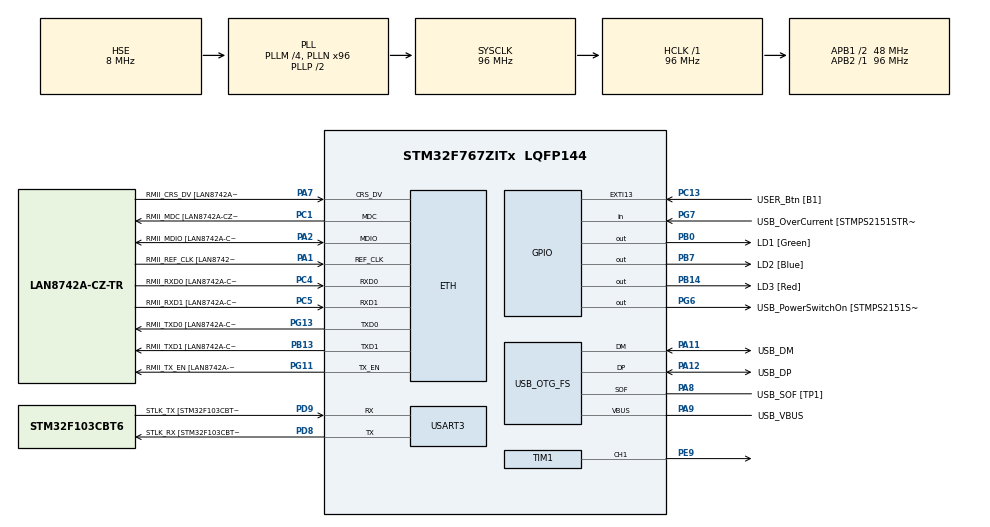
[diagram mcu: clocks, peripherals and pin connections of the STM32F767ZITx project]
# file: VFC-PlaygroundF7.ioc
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ETH.MediaInterface=ETH_MEDIA_INTERFACE_RMII
ETH.PHY_Name=LAN8742A_PHY_ADDRESS
ETH.PHY_Value=0
ETH.PhyAddress=0
Mcu.Family=STM32F7
Mcu.Name=STM32F767ZITx
Mcu.Package=LQFP144
NVIC.PriorityGroup=NVIC_PRIORITYGROUP_4
PA1.GPIO_Label=RMII_REF_CLK [LAN8742A-CZ-TR_REFCLK0]
PA1.Mode=RMII
PA1.Signal=ETH_REF_CLK
PA10.GPIO_Label=USB_ID
PA10.Signal=USB_OTG_FS_ID
PA11.GPIO_Label=USB_DM
PA11.Mode=Device_Only
PA11.Signal=USB_OTG_FS_DM
PA12.GPIO_Label=USB_DP
PA12.Mode=Device_Only
PA12.Signal=USB_OTG_FS_DP
PA13.GPIO_Label=TMS
PA13.Mode=Serial_Wire
PA13.Signal=SYS_JTMS-SWDIO
PA14.GPIO_Label=TCK
PA14.Mode=Serial_Wire
PA14.Signal=SYS_JTCK-SWCLK
PA2.GPIO_Label=RMII_MDIO [LAN8742A-CZ-TR_MDIO]
PA2.Mode=RMII
PA2.Signal=ETH_MDIO
PA7.GPIO_Label=RMII_CRS_DV [LAN8742A-CZ-TR_CRS_DV]
PA7.Mode=RMII
PA7.Signal=ETH_CRS_DV
PA8.GPIO_Label=USB_SOF [TP1]
PA8.Mode=Activate_SOF_FS
PA8.Signal=USB_OTG_FS_SOF
PA9.GPIO_Label=USB_VBUS
PA9.Mode=Activate_VBUS
PA9.Signal=USB_OTG_FS_VBUS
PB0.GPIO_Label=LD1 [Green]
PB0.Signal=GPIO_Output
PB13.GPIO_Label=RMII_TXD1 [LAN8742A-CZ-TR_TXD1]
PB13.Mode=RMII
PB13.Signal=ETH_TXD1
PB14.GPIO_Label=LD3 [Red]
PB14.Signal=GPIO_Output
PB3.GPIO_Label=SWO
PB3.Signal=SYS_JTDO-SWO
PB7.GPIO_Label=LD2 [Blue]
PB7.Signal=GPIO_Output
PC1.GPIO_Label=RMII_MDC [LAN8742A-CZ-TR_MDC]
PC1.Mode=RMII
PC1.Signal=ETH_MDC
PC13.GPIO_Label=USER_Btn [B1]
PC13.Signal=GPXTI13
PC14/OSC32_IN.Mode=LSE-External-Oscillator
PC14/OSC32_IN.Signal=RCC_OSC32_IN
PC15/OSC32_OUT.Mode=LSE-External-Oscillator
PC15/OSC32_OUT.Signal=RCC_OSC32_OUT
PC4.GPIO_Label=RMII_RXD0 [LAN8742A-CZ-TR_RXD0]
PC4.Mode=RMII
PC4.Signal=ETH_RXD0
PC5.GPIO_Label=RMII_RXD1 [LAN8742A-CZ-TR_RXD1]
PC5.Mode=RMII
PC5.Signal=ETH_RXD1
PD8.GPIO_Label=STLK_RX [STM32F103CBT6_PA3]
PD8.Mode=Asynchronous
PD8.Signal=USART3_TX
PD9.GPIO_Label=STLK_TX [STM32F103CBT6_PA2]
PD9.Mode=Asynchronous
PD9.Signal=USART3_RX
PE9.Signal=S_TIM1_CH1
PG11.GPIO_Label=RMII_TX_EN [LAN8742A-CZ-TR_TXEN]
PG11.Mode=RMII
PG11.Signal=ETH_TX_EN
PG13.GPIO_Label=RMII_TXD0 [LAN8742A-CZ-TR_TXD0]
PG13.Mode=RMII
PG13.Signal=ETH_TXD0
PG6.GPIO_Label=USB_PowerSwitchOn [STMPS2151STR_EN]
PG6.Signal=GPIO_Output
PG7.GPIO_Label=USB_OverCurrent [STMPS2151STR_FAULT]
PG7.Signal=GPIO_Input
PH0/OSC_IN.GPIO_Label=MCO [STM32F103CBT6_PA8]
PH0/OSC_IN.Mode=HSE-External-Clock-Source
PH0/OSC_IN.Signal=RCC_OSC_IN
PH1/OSC_OUT.Mode=HSE-External-Clock-Source
PH1/OSC_OUT.Signal=RCC_OSC_OUT
ProjectManager.HeapSize=0x200
ProjectManager.StackSize=0x400
ProjectManager.TargetToolchain=STM32CubeIDE
RCC.48MHZClocksFreq_Value=24000000
RCC.AHBFreq_Value=96000000
RCC.APB1CLKDivider=RCC_HCLK_DIV2
RCC.APB1Freq_Value=48000000
RCC.APB1TimFreq_Value=96000000
RCC.APB2Freq_Value=96000000
RCC.APB2TimFreq_Value=96000000
RCC.CortexFreq_Value=96000000
RCC.HCLKFreq_Value=96000000
RCC.HSE_VALUE=8000000
RCC.HSI_VALUE=16000000
RCC.PLLM=4
RCC.PLLMUL=RCC_PLL_MUL9
RCC.PLLN=96
RCC.PLLQ=4
RCC.PRESCALERUSB=RCC_USBCLKSOURCE_PLL_DIV1_5
RCC.SYSCLKFreq_VALUE=96000000
RCC.SYSCLKSource=RCC_SYSCLKSOURCE_PLLCLK
RCC.SYSCLKSourceVirtual=RCC_SYSCLKSOURCE_PLLCLK
RCC.USBFreq_Value=48000000
RCC.VCOOutputFreq_Value=192000000
SH.S_TIM1_CH1.0=TIM1_CH1,PWM Generation1 CH1
TIM1.Channel-PWM\ Generation1\ CH1=TIM_CHANNEL_1
TIM1.Period=65535
TIM1.Prescaler=10
TIM1.Pulse-PWM\ Generation1\ CH1=0
USART3.VirtualMode-Asynchronous=VM_ASYNC
USB_OTG_FS.VirtualMode=Device_Only
board=NUCLEO-F767ZI

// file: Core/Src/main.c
/* USER CODE BEGIN Header */
/**
  ******************************************************************************
  * @file           : main.c
  * @brief          : Main program body
  ******************************************************************************
  * @attention
  *
  * <h2><center>&copy; Copyright (c) 2021 STMicroelectronics.
  * All rights reserved.</center></h2>
  *
  * This software component is licensed by ST under BSD 3-Clause license,
  * the "License"; You may not use this file except in compliance with the
  * License. You may obtain a copy of the License at:
  *                        opensource.org/licenses/BSD-3-Clause
  *
  ******************************************************************************
  */
/* USER CODE END Header */
#include "main.h"

ETH_HandleTypeDef heth;

TIM_HandleTypeDef htim1;

UART_HandleTypeDef huart3;

PCD_HandleTypeDef hpcd_USB_OTG_FS;

void SystemClock_Config(void);
static void MX_GPIO_Init(void);
static void MX_ETH_Init(void);
static void MX_USART3_UART_Init(void);
static void MX_USB_OTG_FS_PCD_Init(void);
static void MX_TIM1_Init(void);
/* USER CODE BEGIN PFP */
static void setPWM(TIM_HandleTypeDef, uint32_t, uint16_t, uint16_t);
/* USER CODE END PFP */

/* USER CODE BEGIN 0 */
void setPWM(TIM_HandleTypeDef timer, uint32_t channel, uint16_t period, uint16_t pulse)
{
 HAL_TIM_PWM_Stop(&timer, channel); // stop generation of pwm
 TIM_OC_InitTypeDef sConfigOC;
 timer.Init.Period = period; // set the period duration
 HAL_TIM_PWM_Init(&timer); // reinititialise with new period value
 sConfigOC.OCMode = TIM_OCMODE_PWM1;
 sConfigOC.Pulse = pulse; // set the pulse duration
 sConfigOC.OCPolarity = TIM_OCPOLARITY_HIGH;
 sConfigOC.OCFastMode = TIM_OCFAST_DISABLE;
 HAL_TIM_PWM_ConfigChannel(&timer, &sConfigOC, channel);
 HAL_TIM_PWM_Start(&timer, channel);
}
/* USER CODE END 0 */

int main(void)
{

  /* MCU Configuration--------------------------------------------------------*/

  /* Reset of all peripherals, Initializes the Flash interface and the Systick. */
  HAL_Init();

  /* Configure the system clock */
  SystemClock_Config();

  /* Initialize all configured peripherals */
  MX_GPIO_Init();
  MX_ETH_Init();
  MX_USART3_UART_Init();
  MX_USB_OTG_FS_PCD_Init();
  MX_TIM1_Init();
  /* USER CODE BEGIN 2 */
  setPWM(htim1, TIM_CHANNEL_1, 2000, 1000);
 HAL_Delay(3000);
  /* USER CODE END 2 */

  /* Infinite loop */
  while (1)
  {

    /* USER CODE BEGIN 3 */

	  for(int i=0;i<1000;i++){
		  setPWM(htim1, TIM_CHANNEL_1, 2000, 1000 + i );
		  HAL_Delay(20);
	  }
	  for(int i=1000;i>0;i--){
	 		  setPWM(htim1, TIM_CHANNEL_1, 2000, 1000 + i );
	 		  HAL_Delay(20);
	 	  }
  }
  /* USER CODE END 3 */
}

void SystemClock_Config(void)
{
  RCC_OscInitTypeDef RCC_OscInitStruct = {0};
  RCC_ClkInitTypeDef RCC_ClkInitStruct = {0};
  RCC_PeriphCLKInitTypeDef PeriphClkInitStruct = {0};

  /** Configure LSE Drive Capability
  */
  HAL_PWR_EnableBkUpAccess();
  /** Configure the main internal regulator output voltage
  */
  __HAL_RCC_PWR_CLK_ENABLE();
  __HAL_PWR_VOLTAGESCALING_CONFIG(PWR_REGULATOR_VOLTAGE_SCALE3);
  /** Initializes the RCC Oscillators according to the specified parameters
  * in the RCC_OscInitTypeDef structure.
  */
  RCC_OscInitStruct.OscillatorType = RCC_OSCILLATORTYPE_HSE;
  RCC_OscInitStruct.HSEState = RCC_HSE_BYPASS;
  RCC_OscInitStruct.PLL.PLLState = RCC_PLL_ON;
  RCC_OscInitStruct.PLL.PLLSource = RCC_PLLSOURCE_HSE;
  RCC_OscInitStruct.PLL.PLLM = 4;
  RCC_OscInitStruct.PLL.PLLN = 96;
  RCC_OscInitStruct.PLL.PLLP = RCC_PLLP_DIV2;
  RCC_OscInitStruct.PLL.PLLQ = 4;
  if (HAL_RCC_OscConfig(&RCC_OscInitStruct) != HAL_OK)
  {
    Error_Handler();
  }
  /** Activate the Over-Drive mode
  */
  if (HAL_PWREx_EnableOverDrive() != HAL_OK)
  {
    Error_Handler();
  }
  /** Initializes the CPU, AHB and APB buses clocks
  */
  RCC_ClkInitStruct.ClockType = RCC_CLOCKTYPE_HCLK|RCC_CLOCKTYPE_SYSCLK
                              |RCC_CLOCKTYPE_PCLK1|RCC_CLOCKTYPE_PCLK2;
  RCC_ClkInitStruct.SYSCLKSource = RCC_SYSCLKSOURCE_PLLCLK;
  RCC_ClkInitStruct.AHBCLKDivider = RCC_SYSCLK_DIV1;
  RCC_ClkInitStruct.APB1CLKDivider = RCC_HCLK_DIV2;
  RCC_ClkInitStruct.APB2CLKDivider = RCC_HCLK_DIV1;

  if (HAL_RCC_ClockConfig(&RCC_ClkInitStruct, FLASH_LATENCY_3) != HAL_OK)
  {
    Error_Handler();
  }
  PeriphClkInitStruct.PeriphClockSelection = RCC_PERIPHCLK_USART3|RCC_PERIPHCLK_CLK48;
  PeriphClkInitStruct.Usart3ClockSelection = RCC_USART3CLKSOURCE_PCLK1;
  PeriphClkInitStruct.Clk48ClockSelection = RCC_CLK48SOURCE_PLL;
  if (HAL_RCCEx_PeriphCLKConfig(&PeriphClkInitStruct) != HAL_OK)
  {
    Error_Handler();
  }
}

static void MX_ETH_Init(void)
{

  heth.Instance = ETH;
  heth.Init.AutoNegotiation = ETH_AUTONEGOTIATION_ENABLE;
  heth.Init.PhyAddress = LAN8742A_PHY_ADDRESS;
  heth.Init.MACAddr[0] =   0x00;
  heth.Init.MACAddr[1] =   0x80;
  heth.Init.MACAddr[2] =   0xE1;
  heth.Init.MACAddr[3] =   0x00;
  heth.Init.MACAddr[4] =   0x00;
  heth.Init.MACAddr[5] =   0x00;
  heth.Init.RxMode = ETH_RXPOLLING_MODE;
  heth.Init.ChecksumMode = ETH_CHECKSUM_BY_HARDWARE;
  heth.Init.MediaInterface = ETH_MEDIA_INTERFACE_RMII;

  if (HAL_ETH_Init(&heth) != HAL_OK)
  {
    Error_Handler();
  }

}

static void MX_TIM1_Init(void)
{

  TIM_MasterConfigTypeDef sMasterConfig = {0};
  TIM_OC_InitTypeDef sConfigOC = {0};
  TIM_BreakDeadTimeConfigTypeDef sBreakDeadTimeConfig = {0};

  htim1.Instance = TIM1;
  htim1.Init.Prescaler = 10;
  htim1.Init.CounterMode = TIM_COUNTERMODE_UP;
  htim1.Init.Period = 9700;
  htim1.Init.ClockDivision = TIM_CLOCKDIVISION_DIV1;
  htim1.Init.RepetitionCounter = 0;
  htim1.Init.AutoReloadPreload = TIM_AUTORELOAD_PRELOAD_DISABLE;
  if (HAL_TIM_PWM_Init(&htim1) != HAL_OK)
  {
    Error_Handler();
  }
  sMasterConfig.MasterOutputTrigger = TIM_TRGO_RESET;
  sMasterConfig.MasterOutputTrigger2 = TIM_TRGO2_RESET;
  sMasterConfig.MasterSlaveMode = TIM_MASTERSLAVEMODE_DISABLE;
  if (HAL_TIMEx_MasterConfigSynchronization(&htim1, &sMasterConfig) != HAL_OK)
  {
    Error_Handler();
  }
  sConfigOC.OCMode = TIM_OCMODE_PWM1;
  sConfigOC.Pulse = 0;
  sConfigOC.OCPolarity = TIM_OCPOLARITY_HIGH;
  sConfigOC.OCNPolarity = TIM_OCNPOLARITY_HIGH;
  sConfigOC.OCFastMode = TIM_OCFAST_DISABLE;
  sConfigOC.OCIdleState = TIM_OCIDLESTATE_RESET;
  sConfigOC.OCNIdleState = TIM_OCNIDLESTATE_RESET;
  if (HAL_TIM_PWM_ConfigChannel(&htim1, &sConfigOC, TIM_CHANNEL_1) != HAL_OK)
  {
    Error_Handler();
  }
  sBreakDeadTimeConfig.OffStateRunMode = TIM_OSSR_DISABLE;
  sBreakDeadTimeConfig.OffStateIDLEMode = TIM_OSSI_DISABLE;
  sBreakDeadTimeConfig.LockLevel = TIM_LOCKLEVEL_OFF;
  sBreakDeadTimeConfig.DeadTime = 0;
  sBreakDeadTimeConfig.BreakState = TIM_BREAK_DISABLE;
  sBreakDeadTimeConfig.BreakPolarity = TIM_BREAKPOLARITY_HIGH;
  sBreakDeadTimeConfig.BreakFilter = 0;
  sBreakDeadTimeConfig.Break2State = TIM_BREAK2_DISABLE;
  sBreakDeadTimeConfig.Break2Polarity = TIM_BREAK2POLARITY_HIGH;
  sBreakDeadTimeConfig.Break2Filter = 0;
  sBreakDeadTimeConfig.AutomaticOutput = TIM_AUTOMATICOUTPUT_DISABLE;
  if (HAL_TIMEx_ConfigBreakDeadTime(&htim1, &sBreakDeadTimeConfig) != HAL_OK)
  {
    Error_Handler();
  }
  HAL_TIM_MspPostInit(&htim1);

}

static void MX_USART3_UART_Init(void)
{

  huart3.Instance = USART3;
  huart3.Init.BaudRate = 115200;
  huart3.Init.WordLength = UART_WORDLENGTH_8B;
  huart3.Init.StopBits = UART_STOPBITS_1;
  huart3.Init.Parity = UART_PARITY_NONE;
  huart3.Init.Mode = UART_MODE_TX_RX;
  huart3.Init.HwFlowCtl = UART_HWCONTROL_NONE;
  huart3.Init.OverSampling = UART_OVERSAMPLING_16;
  huart3.Init.OneBitSampling = UART_ONE_BIT_SAMPLE_DISABLE;
  huart3.AdvancedInit.AdvFeatureInit = UART_ADVFEATURE_NO_INIT;
  if (HAL_UART_Init(&huart3) != HAL_OK)
  {
    Error_Handler();
  }

}

static void MX_USB_OTG_FS_PCD_Init(void)
{

  hpcd_USB_OTG_FS.Instance = USB_OTG_FS;
  hpcd_USB_OTG_FS.Init.dev_endpoints = 6;
  hpcd_USB_OTG_FS.Init.speed = PCD_SPEED_FULL;
  hpcd_USB_OTG_FS.Init.dma_enable = DISABLE;
  hpcd_USB_OTG_FS.Init.phy_itface = PCD_PHY_EMBEDDED;
  hpcd_USB_OTG_FS.Init.Sof_enable = ENABLE;
  hpcd_USB_OTG_FS.Init.low_power_enable = DISABLE;
  hpcd_USB_OTG_FS.Init.lpm_enable = DISABLE;
  hpcd_USB_OTG_FS.Init.vbus_sensing_enable = ENABLE;
  hpcd_USB_OTG_FS.Init.use_dedicated_ep1 = DISABLE;
  if (HAL_PCD_Init(&hpcd_USB_OTG_FS) != HAL_OK)
  {
    Error_Handler();
  }

}

static void MX_GPIO_Init(void)
{
  GPIO_InitTypeDef GPIO_InitStruct = {0};

  /* GPIO Ports Clock Enable */
  __HAL_RCC_GPIOC_CLK_ENABLE();
  __HAL_RCC_GPIOH_CLK_ENABLE();
  __HAL_RCC_GPIOA_CLK_ENABLE();
  __HAL_RCC_GPIOB_CLK_ENABLE();
  __HAL_RCC_GPIOE_CLK_ENABLE();
  __HAL_RCC_GPIOD_CLK_ENABLE();
  __HAL_RCC_GPIOG_CLK_ENABLE();

  /*Configure GPIO pin Output Level */
  HAL_GPIO_WritePin(GPIOB, LD1_Pin|LD3_Pin|LD2_Pin, GPIO_PIN_RESET);

  /*Configure GPIO pin Output Level */
  HAL_GPIO_WritePin(USB_PowerSwitchOn_GPIO_Port, USB_PowerSwitchOn_Pin, GPIO_PIN_RESET);

  /*Configure GPIO pin : USER_Btn_Pin */
  GPIO_InitStruct.Pin = USER_Btn_Pin;
  GPIO_InitStruct.Mode = GPIO_MODE_IT_RISING;
  GPIO_InitStruct.Pull = GPIO_NOPULL;
  HAL_GPIO_Init(USER_Btn_GPIO_Port, &GPIO_InitStruct);

  /*Configure GPIO pins : LD1_Pin LD3_Pin LD2_Pin */
  GPIO_InitStruct.Pin = LD1_Pin|LD3_Pin|LD2_Pin;
  GPIO_InitStruct.Mode = GPIO_MODE_OUTPUT_PP;
  GPIO_InitStruct.Pull = GPIO_NOPULL;
  GPIO_InitStruct.Speed = GPIO_SPEED_FREQ_LOW;
  HAL_GPIO_Init(GPIOB, &GPIO_InitStruct);

  /*Configure GPIO pin : USB_PowerSwitchOn_Pin */
  GPIO_InitStruct.Pin = USB_PowerSwitchOn_Pin;
  GPIO_InitStruct.Mode = GPIO_MODE_OUTPUT_PP;
  GPIO_InitStruct.Pull = GPIO_NOPULL;
  GPIO_InitStruct.Speed = GPIO_SPEED_FREQ_LOW;
  HAL_GPIO_Init(USB_PowerSwitchOn_GPIO_Port, &GPIO_InitStruct);

  /*Configure GPIO pin : USB_OverCurrent_Pin */
  GPIO_InitStruct.Pin = USB_OverCurrent_Pin;
  GPIO_InitStruct.Mode = GPIO_MODE_INPUT;
  GPIO_InitStruct.Pull = GPIO_NOPULL;
  HAL_GPIO_Init(USB_OverCurrent_GPIO_Port, &GPIO_InitStruct);

}

void Error_Handler(void)
{
}

/************************ (C) COPYRIGHT STMicroelectronics *****END OF FILE****/
